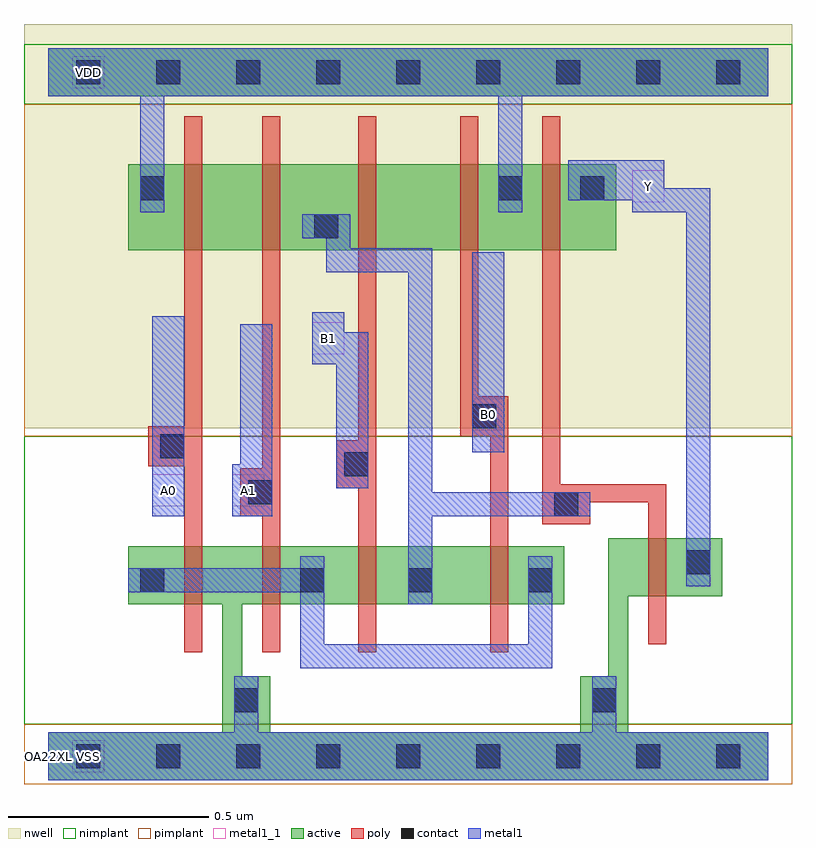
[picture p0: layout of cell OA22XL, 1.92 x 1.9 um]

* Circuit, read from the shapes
.subckt OA22XL A0 A1 B0 B1 VDD VSS Y
M1 VSS A0 n1 VSS nfet w=0.145u l=0.045u
M2 n1 A1 VSS VSS nfet w=0.145u l=0.045u
M3 n2 B1 n1 VSS nfet w=0.145u l=0.045u
M4 n1 B0 n2 VSS nfet w=0.145u l=0.045u
M5 Y n2 VSS VSS nfet w=0.145u l=0.045u
M6 n3 A0 VDD VDD pfet w=0.215u l=0.045u
M7 n2 A1 n3 VDD pfet w=0.215u l=0.045u
M8 n4 B1 n2 VDD pfet w=0.215u l=0.045u
M9 VDD B0 n4 VDD pfet w=0.215u l=0.045u
M10 Y n2 VDD VDD pfet w=0.215u l=0.045u
.ends

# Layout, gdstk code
import gdstk
lib = gdstk.Library(unit=1e-6, precision=5e-10)
def R(c, l, rs):  # rectangles x0, y0, x1, y1
    for r in rs: c.add(gdstk.rectangle(r[:2], r[2:], *l))
def A(c, l, x, y, w, h, nx, ny, dx, dy):  # array of equal rectangles
    R(c, l, [(x+i*dx, y+j*dy, x+i*dx+w, y+j*dy+h) for i in range(nx) for j in range(ny)])
def P(c, l, *ps):  # polygons
    for p in ps: c.add(gdstk.Polygon(p, *l))
active = (1, 0)
nwell = (2, 0)
poly = (3, 0)
nimplant = (4, 0)
pimplant = (5, 0)
contact = (6, 0)
metal1 = (7, 0)
metal1_1 = (7, 1)

oa22xl = lib.new_cell('OA22XL')
R(oa22xl, active, [(0.2,1.265,1.42,1.48), (0,1.65,1.8,1.77)])
P(oa22xl, active, [(0.2,0.525),(1.29,0.525),(1.29,0.38),(0.485,0.38),(0.485,0.2),(0.555,0.2),(0.555,0.06),(1.33,0.06),(1.33,0.2),(1.4,0.2),(1.4,0.545),(1.685,0.545),(1.685,0.4),(1.45,0.4),(1.45,0.06),(1.8,0.06),(1.8,-0.06),(0,-0.06),(0,0.06),(0.435,0.06),(0.435,0.38),(0.2,0.38)])
R(oa22xl, nwell, [(-0.06,0.82,1.86,1.83)])
P(oa22xl, poly, [(0.34,1.6),(0.385,1.6),(0.385,0.26),(0.34,0.26),(0.34,0.725),(0.25,0.725),(0.25,0.825),(0.34,0.825)],
  [(0.535,1.6),(0.58,1.6),(0.58,0.26),(0.535,0.26),(0.535,0.6),(0.48,0.6),(0.48,0.72),(0.535,0.72)],
  [(0.775,1.6),(0.82,1.6),(0.82,0.26),(0.775,0.26),(0.775,0.67),(0.72,0.67),(0.72,0.79),(0.775,0.79)],
  [(1.03,1.6),(1.075,1.6),(1.075,0.9),(1.15,0.9),(1.15,0.26),(1.105,0.26),(1.105,0.8),(1.03,0.8)],
  [(1.235,1.6),(1.28,1.6),(1.28,0.68),(1.545,0.68),(1.545,0.28),(1.5,0.28),(1.5,0.635),(1.355,0.635),(1.355,0.58),(1.235,0.58)])
R(oa22xl, nimplant, [(-0.06,0.08,1.86,0.8), (-0.06,1.63,1.86,1.78)])
R(oa22xl, pimplant, [(-0.06,-0.07,1.86,0.08), (-0.06,0.8,1.86,1.63)])
A(oa22xl, contact, 0.07, -0.03, 0.06, 0.06, 9, 2, 0.2, 1.71)
R(oa22xl, contact, [(0.465,0.11,0.525,0.17), (1.36,0.11,1.42,0.17), (0.23,0.41,0.29,0.47), (0.63,0.41,0.69,0.47), (0.9,0.41,0.96,0.47), (1.2,0.41,1.26,0.47), (1.595,0.455,1.655,0.515), (1.265,0.6,1.325,0.66), (0.5,0.63,0.56,0.69), (0.74,0.7,0.8,0.76), (0.28,0.745,0.34,0.805), (1.06,0.82,1.12,0.88), (0.665,1.295,0.725,1.355), (0.23,1.39,0.29,1.45), (1.125,1.39,1.185,1.45), (1.33,1.39,1.39,1.45)])
R(oa22xl, metal1, [(0.26,0.6,0.34,1.1), (1.06,0.76,1.14,1.26)])
P(oa22xl, metal1, [(0,1.77),(1.8,1.77),(1.8,1.65),(1.185,1.65),(1.185,1.36),(1.125,1.36),(1.125,1.65),(0.29,1.65),(0.29,1.36),(0.23,1.36),(0.23,1.65),(0,1.65)],
  [(0.635,1.355),(0.755,1.355),(0.755,1.27),(0.96,1.27),(0.96,0.66),(1.355,0.66),(1.355,0.6),(0.96,0.6),(0.96,0.38),(0.9,0.38),(0.9,1.21),(0.695,1.21),(0.695,1.295),(0.635,1.295)],
  [(1.3,1.49),(1.54,1.49),(1.54,1.42),(1.655,1.42),(1.655,0.425),(1.595,0.425),(1.595,1.36),(1.46,1.36),(1.46,1.39),(1.3,1.39)],
  [(0.48,1.08),(0.56,1.08),(0.56,0.6),(0.46,0.6),(0.46,0.73),(0.48,0.73)],
  [(0.66,1.11),(0.74,1.11),(0.74,1.06),(0.8,1.06),(0.8,0.67),(0.72,0.67),(0.72,0.98),(0.66,0.98)],
  [(0.63,0.5),(0.69,0.5),(0.69,0.28),(1.2,0.28),(1.2,0.5),(1.26,0.5),(1.26,0.22),(0.63,0.22),(0.63,0.41),(0.2,0.41),(0.2,0.47),(0.63,0.47)],
  [(0.465,0.2),(0.525,0.2),(0.525,0.06),(1.36,0.06),(1.36,0.2),(1.42,0.2),(1.42,0.06),(1.8,0.06),(1.8,-0.06),(0,-0.06),(0,0.06),(0.465,0.06)])
R(oa22xl, metal1_1, [(0.06,-0.04,0.14,0.04), (0.26,0.625,0.34,0.705), (0.46,0.625,0.54,0.705), (1.06,0.815,1.14,0.895), (0.66,1.005,0.74,1.085), (1.46,1.385,1.54,1.465), (0.06,1.67,0.14,1.75)])
oa22xl.add(gdstk.Label('Y', (1.5,1.425), layer=7, texttype=1))
oa22xl.add(gdstk.Label('B0', (1.1,0.855), layer=7, texttype=1))
oa22xl.add(gdstk.Label('A1', (0.5,0.665), layer=7, texttype=1))
oa22xl.add(gdstk.Label('A0', (0.3,0.665), layer=7, texttype=1))
oa22xl.add(gdstk.Label('B1', (0.7,1.045), layer=7, texttype=1))
oa22xl.add(gdstk.Label('VDD', (0.1,1.71), layer=7, texttype=1))
oa22xl.add(gdstk.Label('VSS', (0.1,0), layer=7, texttype=1))
oa22xl.add(gdstk.Label('OA22XL', (0,0), layer=63, texttype=0))

lib.write_gds('OA22XL.gds')
